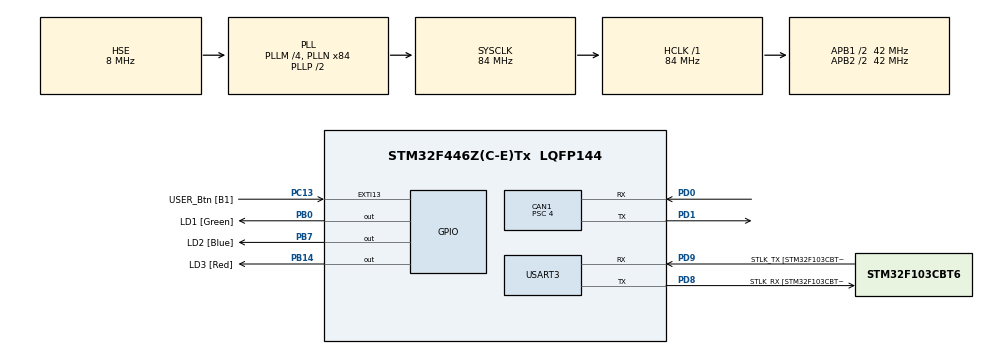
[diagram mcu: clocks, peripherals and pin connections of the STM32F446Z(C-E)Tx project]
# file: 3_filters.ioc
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CAN1.BS1=CAN_BS1_13TQ
CAN1.BS2=CAN_BS2_2TQ
CAN1.CalculateBaudRate=656250
CAN1.CalculateTimeBit=1523
CAN1.CalculateTimeQuantum=95.23809523809524
CAN1.Prescaler=4
Mcu.Family=STM32F4
Mcu.Name=STM32F446Z(C-E)Tx
Mcu.Package=LQFP144
NVIC.CAN1_RX0_IRQn=true\:0\:0\:false\:false\:true\:true\:true\:true
NVIC.EXTI15_10_IRQn=true\:0\:0\:false\:false\:true\:true\:true\:true
NVIC.PriorityGroup=NVIC_PRIORITYGROUP_4
PB0.GPIO_Label=LD1 [Green]
PB0.Signal=GPIO_Output
PB14.GPIO_Label=LD3 [Red]
PB14.Signal=GPIO_Output
PB7.GPIO_Label=LD2 [Blue]
PB7.Signal=GPIO_Output
PC13.GPIO_Label=USER_Btn [B1]
PC13.Signal=GPXTI13
PC14-OSC32_IN.Mode=LSE-External-Oscillator
PC14-OSC32_IN.Signal=RCC_OSC32_IN
PC15-OSC32_OUT.Mode=LSE-External-Oscillator
PC15-OSC32_OUT.Signal=RCC_OSC32_OUT
PD0.GPIO_PuPd=GPIO_PULLUP
PD0.Mode=CAN_Activate
PD0.Signal=CAN1_RX
PD1.GPIO_PuPd=GPIO_PULLUP
PD1.Mode=CAN_Activate
PD1.Signal=CAN1_TX
PD8.GPIO_Label=STLK_RX [STM32F103CBT6_PA3]
PD8.Mode=Asynchronous
PD8.Signal=USART3_TX
PD9.GPIO_Label=STLK_TX [STM32F103CBT6_PA2]
PD9.Mode=Asynchronous
PD9.Signal=USART3_RX
PH0-OSC_IN.GPIO_Label=MCO [STM32F103CBT6_PA8]
PH0-OSC_IN.Mode=HSE-External-Clock-Source
PH0-OSC_IN.Signal=RCC_OSC_IN
PH1-OSC_OUT.Mode=HSE-External-Clock-Source
PH1-OSC_OUT.Signal=RCC_OSC_OUT
ProjectManager.HeapSize=0x200
ProjectManager.StackSize=0x400
ProjectManager.TargetToolchain=STM32CubeIDE
RCC.48MHZClocksFreq_Value=24000000
RCC.AHBFreq_Value=84000000
RCC.APB1CLKDivider=RCC_HCLK_DIV2
RCC.APB1Freq_Value=42000000
RCC.APB1TimFreq_Value=84000000
RCC.APB2CLKDivider=RCC_HCLK_DIV2
RCC.APB2Freq_Value=42000000
RCC.APB2TimFreq_Value=84000000
RCC.CortexFreq_Value=84000000
RCC.HCLKFreq_Value=84000000
RCC.HSE_VALUE=8000000
RCC.HSI_VALUE=16000000
RCC.PLLM=4
RCC.PLLMUL=RCC_PLL_MUL9
RCC.PLLN=84
RCC.PLLQ=7
RCC.PLLSourceVirtual=RCC_PLLSOURCE_HSE
RCC.PRESCALERUSB=RCC_USBCLKSOURCE_PLL_DIV1_5
RCC.SYSCLKFreq_VALUE=84000000
RCC.SYSCLKSource=RCC_SYSCLKSOURCE_PLLCLK
RCC.SYSCLKSourceVirtual=RCC_SYSCLKSOURCE_PLLCLK
RCC.USBFreq_Value=24000000
RCC.VCOOutputFreq_Value=168000000
USART3.VirtualMode=VM_ASYNC
board=NUCLEO-F446ZE

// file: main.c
/* USER CODE BEGIN Header */
/**
  ******************************************************************************
  * @file           : main.c
  * @brief          : Main program body
  ******************************************************************************
  * @attention
  *
  * <h2><center>&copy; Copyright (c) 2021 STMicroelectronics.
  * All rights reserved.</center></h2>
  *
  * This software component is licensed by ST under BSD 3-Clause license,
  * the "License"; You may not use this file except in compliance with the
  * License. You may obtain a copy of the License at:
  *                        opensource.org/licenses/BSD-3-Clause
  *
  ******************************************************************************
  */
/* USER CODE END Header */
#include "main.h"

CAN_HandleTypeDef hcan1;

UART_HandleTypeDef huart3;

/* USER CODE BEGIN PV */
// CAN Related
CAN_TxHeaderTypeDef   TxHeader;
CAN_RxHeaderTypeDef   RxHeader;
uint8_t               TxData[8];
uint8_t               RxData[8];
uint32_t              TxMailbox;
// LED Status...
uint8_t				  LDSTAT;
uint8_t			      CNT;
uint8_t			      TX;
/* USER CODE END PV */

void SystemClock_Config(void);
static void MX_GPIO_Init(void);
static void MX_USART3_UART_Init(void);
static void MX_CAN1_Init(void);

int main(void)
{
  /* USER CODE BEGIN 1 */
	TX = 0; // Stel hier in of het zender (1) of ontvanger (0) is.

	LDSTAT = 0;
	CNT = 0;
  /* USER CODE END 1 */

  /* MCU Configuration--------------------------------------------------------*/

  /* Reset of all peripherals, Initializes the Flash interface and the Systick. */
  HAL_Init();

  /* Configure the system clock */
  SystemClock_Config();

  /* Initialize all configured peripherals */
  MX_GPIO_Init();
  MX_USART3_UART_Init();
  MX_CAN1_Init();
  /* USER CODE BEGIN 2 */
  HAL_CAN_Start(&hcan1);
  /* USER CODE END 2 */

  /* Infinite loop */
	while (1) {

    /* USER CODE BEGIN 3 */
		if (TX) {
					CNT = CNT + 1;
					TxData[0] = CNT;
					TxData[1] = LDSTAT;

					if (LDSTAT == 0) {
						HAL_GPIO_WritePin(GPIOB, LD1_Pin, GPIO_PIN_SET);
						HAL_GPIO_WritePin(GPIOB, LD3_Pin | LD2_Pin, GPIO_PIN_RESET);
						LDSTAT = 1;
					} else if (LDSTAT == 1) {
						HAL_GPIO_WritePin(GPIOB, LD2_Pin, GPIO_PIN_SET);
						HAL_GPIO_WritePin(GPIOB, LD3_Pin | LD1_Pin, GPIO_PIN_RESET);
						LDSTAT = 2;
					} else {
						HAL_GPIO_WritePin(GPIOB, LD3_Pin, GPIO_PIN_SET);
						HAL_GPIO_WritePin(GPIOB, LD1_Pin | LD2_Pin, GPIO_PIN_RESET);
						LDSTAT = 0;
					}

					if (HAL_CAN_AddTxMessage(&hcan1, &TxHeader, TxData, &TxMailbox)
							!= HAL_OK) {
						/* Transmission request Error */
						Error_Handler();
					}

					HAL_Delay(500);
				}
//					else {
//					HAL_Delay(100);
//
//					if (HAL_CAN_GetRxFifoFillLevel(&hcan1, CAN_RX_FIFO0) != 0) {
//						/* Get RX message */
//						if (HAL_CAN_GetRxMessage(&hcan1, CAN_RX_FIFO0, &RxHeader,
//								RxData) != HAL_OK) {
//							/* Reception Error */
//							Error_Handler();
//						}
//						/* Display LEDx */
//						if ((RxHeader.IDE == CAN_ID_STD)
//								&& (RxHeader.DLC == 2)) {
//							LDSTAT = RxData[1];
//							if (LDSTAT == 0) {
//								HAL_GPIO_WritePin(GPIOB, LD1_Pin, GPIO_PIN_SET);
//								HAL_GPIO_WritePin(GPIOB, LD3_Pin | LD2_Pin,
//										GPIO_PIN_RESET);
//							} else if (LDSTAT == 1) {
//								HAL_GPIO_WritePin(GPIOB, LD2_Pin, GPIO_PIN_SET);
//								HAL_GPIO_WritePin(GPIOB, LD3_Pin | LD1_Pin,
//										GPIO_PIN_RESET);
//							} else {
//								HAL_GPIO_WritePin(GPIOB, LD3_Pin, GPIO_PIN_SET);
//								HAL_GPIO_WritePin(GPIOB, LD1_Pin | LD2_Pin,
//										GPIO_PIN_RESET);
//							}
//						}
//					}
//				}
	}
  /* USER CODE END 3 */
}

void SystemClock_Config(void)
{
  RCC_OscInitTypeDef RCC_OscInitStruct = {0};
  RCC_ClkInitTypeDef RCC_ClkInitStruct = {0};

  /** Configure the main internal regulator output voltage
  */
  __HAL_RCC_PWR_CLK_ENABLE();
  __HAL_PWR_VOLTAGESCALING_CONFIG(PWR_REGULATOR_VOLTAGE_SCALE3);

  /** Initializes the RCC Oscillators according to the specified parameters
  * in the RCC_OscInitTypeDef structure.
  */
  RCC_OscInitStruct.OscillatorType = RCC_OSCILLATORTYPE_HSE;
  RCC_OscInitStruct.HSEState = RCC_HSE_BYPASS;
  RCC_OscInitStruct.PLL.PLLState = RCC_PLL_ON;
  RCC_OscInitStruct.PLL.PLLSource = RCC_PLLSOURCE_HSE;
  RCC_OscInitStruct.PLL.PLLM = 4;
  RCC_OscInitStruct.PLL.PLLN = 84;
  RCC_OscInitStruct.PLL.PLLP = RCC_PLLP_DIV2;
  RCC_OscInitStruct.PLL.PLLQ = 7;
  RCC_OscInitStruct.PLL.PLLR = 2;
  if (HAL_RCC_OscConfig(&RCC_OscInitStruct) != HAL_OK)
  {
    Error_Handler();
  }

  /** Initializes the CPU, AHB and APB buses clocks
  */
  RCC_ClkInitStruct.ClockType = RCC_CLOCKTYPE_HCLK|RCC_CLOCKTYPE_SYSCLK
                              |RCC_CLOCKTYPE_PCLK1|RCC_CLOCKTYPE_PCLK2;
  RCC_ClkInitStruct.SYSCLKSource = RCC_SYSCLKSOURCE_PLLCLK;
  RCC_ClkInitStruct.AHBCLKDivider = RCC_SYSCLK_DIV1;
  RCC_ClkInitStruct.APB1CLKDivider = RCC_HCLK_DIV2;
  RCC_ClkInitStruct.APB2CLKDivider = RCC_HCLK_DIV2;

  if (HAL_RCC_ClockConfig(&RCC_ClkInitStruct, FLASH_LATENCY_2) != HAL_OK)
  {
    Error_Handler();
  }
}

static void MX_CAN1_Init(void)
{

  /* USER CODE BEGIN CAN1_Init 0 */
  CAN_FilterTypeDef  sFilterConfig0;
  CAN_FilterTypeDef  sFilterConfig1;
  CAN_FilterTypeDef  sFilterConfig2;
  /* USER CODE END CAN1_Init 0 */

  hcan1.Instance = CAN1;
  hcan1.Init.Prescaler = 4;
  hcan1.Init.Mode = CAN_MODE_NORMAL;
  hcan1.Init.SyncJumpWidth = CAN_SJW_1TQ;
  hcan1.Init.TimeSeg1 = CAN_BS1_13TQ;
  hcan1.Init.TimeSeg2 = CAN_BS2_2TQ;
  hcan1.Init.TimeTriggeredMode = DISABLE;
  hcan1.Init.AutoBusOff = DISABLE;
  hcan1.Init.AutoWakeUp = DISABLE;
  hcan1.Init.AutoRetransmission = DISABLE;
  hcan1.Init.ReceiveFifoLocked = DISABLE;
  hcan1.Init.TransmitFifoPriority = DISABLE;
  if (HAL_CAN_Init(&hcan1) != HAL_OK)
  {
    Error_Handler();
  }
  /* USER CODE BEGIN CAN1_Init 2 */

  // Configuring the filter for Application 0.
  sFilterConfig0.FilterBank = 0;
  sFilterConfig0.FilterMode = CAN_FILTERMODE_IDLIST;
  sFilterConfig0.FilterScale = CAN_FILTERSCALE_32BIT;
  sFilterConfig0.FilterIdHigh = 0x0000;
  sFilterConfig0.FilterIdLow = 0x0000;
  sFilterConfig0.FilterMaskIdHigh = 0x0000;
  sFilterConfig0.FilterMaskIdLow = 0x0000;
  sFilterConfig0.FilterFIFOAssignment = CAN_RX_FIFO0;
  sFilterConfig0.FilterActivation = ENABLE;
  sFilterConfig0.SlaveStartFilterBank = 14;
  if (HAL_CAN_ConfigFilter(&hcan1, &sFilterConfig0) != HAL_OK) {
	/* Filter configuration Error */
	Error_Handler();
  }

  // Configuring the filter for Application 1.
  sFilterConfig1.FilterBank = 1;
  sFilterConfig1.FilterMode = CAN_FILTERMODE_IDLIST;
  sFilterConfig1.FilterScale = CAN_FILTERSCALE_32BIT;
  sFilterConfig1.FilterIdHigh = 0x0020;
  sFilterConfig1.FilterIdLow = 0x0000;
  sFilterConfig1.FilterMaskIdHigh = 0x0000;
  sFilterConfig1.FilterMaskIdLow = 0x0000;
  sFilterConfig1.FilterFIFOAssignment = CAN_RX_FIFO0;
  sFilterConfig1.FilterActivation = ENABLE;
  sFilterConfig1.SlaveStartFilterBank = 14;
  if (HAL_CAN_ConfigFilter(&hcan1, &sFilterConfig1) != HAL_OK) {
	/* Filter configuration Error */
	Error_Handler();
  }

  // Configuring the filter for Application 2.
  sFilterConfig2.FilterBank = 2;
  sFilterConfig2.FilterMode = CAN_FILTERMODE_IDLIST;
  sFilterConfig2.FilterScale = CAN_FILTERSCALE_32BIT;
  sFilterConfig2.FilterIdHigh = 0x0040;
  sFilterConfig2.FilterIdLow = 0x0000;
  sFilterConfig2.FilterMaskIdHigh = 0x0000;
  sFilterConfig2.FilterMaskIdLow = 0x0000;
  sFilterConfig2.FilterFIFOAssignment = CAN_RX_FIFO0;
  sFilterConfig2.FilterActivation = ENABLE;
  sFilterConfig2.SlaveStartFilterBank = 14;
  if (HAL_CAN_ConfigFilter(&hcan1, &sFilterConfig2) != HAL_OK) {
	/* Filter configuration Error */
	Error_Handler();
  }
  /* CAN RX Notification activeren */
  if (HAL_CAN_ActivateNotification(&hcan1, CAN_IT_RX_FIFO0_MSG_PENDING) != HAL_OK)
    {
    /* Notification Error */
      Error_Handler();
    }

  /*##-5- Configure Transmission process ##*/
  TxHeader.StdId = 0b00000000010;
  TxHeader.ExtId = 0x00;
  TxHeader.RTR = CAN_RTR_DATA;
  TxHeader.IDE = CAN_ID_STD;
  TxHeader.DLC = 2; // Datalengte is gelijk aan 2
  TxHeader.TransmitGlobalTime = DISABLE;

  /* USER CODE END CAN1_Init 2 */

}

static void MX_USART3_UART_Init(void)
{

  huart3.Instance = USART3;
  huart3.Init.BaudRate = 115200;
  huart3.Init.WordLength = UART_WORDLENGTH_8B;
  huart3.Init.StopBits = UART_STOPBITS_1;
  huart3.Init.Parity = UART_PARITY_NONE;
  huart3.Init.Mode = UART_MODE_TX_RX;
  huart3.Init.HwFlowCtl = UART_HWCONTROL_NONE;
  huart3.Init.OverSampling = UART_OVERSAMPLING_16;
  if (HAL_UART_Init(&huart3) != HAL_OK)
  {
    Error_Handler();
  }

}

static void MX_GPIO_Init(void)
{
  GPIO_InitTypeDef GPIO_InitStruct = {0};

  /* GPIO Ports Clock Enable */
  __HAL_RCC_GPIOC_CLK_ENABLE();
  __HAL_RCC_GPIOH_CLK_ENABLE();
  __HAL_RCC_GPIOB_CLK_ENABLE();
  __HAL_RCC_GPIOD_CLK_ENABLE();

  /*Configure GPIO pin Output Level */
  HAL_GPIO_WritePin(GPIOB, LD1_Pin|LD3_Pin|LD2_Pin, GPIO_PIN_RESET);

  /*Configure GPIO pin : USER_Btn_Pin */
  GPIO_InitStruct.Pin = USER_Btn_Pin;
  GPIO_InitStruct.Mode = GPIO_MODE_IT_RISING;
  GPIO_InitStruct.Pull = GPIO_NOPULL;
  HAL_GPIO_Init(USER_Btn_GPIO_Port, &GPIO_InitStruct);

  /*Configure GPIO pins : LD1_Pin LD3_Pin LD2_Pin */
  GPIO_InitStruct.Pin = LD1_Pin|LD3_Pin|LD2_Pin;
  GPIO_InitStruct.Mode = GPIO_MODE_OUTPUT_PP;
  GPIO_InitStruct.Pull = GPIO_NOPULL;
  GPIO_InitStruct.Speed = GPIO_SPEED_FREQ_LOW;
  HAL_GPIO_Init(GPIOB, &GPIO_InitStruct);

  /* EXTI interrupt init*/
  HAL_NVIC_SetPriority(EXTI15_10_IRQn, 0, 0);
  HAL_NVIC_EnableIRQ(EXTI15_10_IRQn);

}

/* USER CODE BEGIN 4 */

/**
  * @brief  Rx Fifo 0 message pending callback
  * @param  hcan: pointer to a CAN_HandleTypeDef structure that contains
  *         the configuration information for the specified CAN.
  * @retval None
  */
void HAL_CAN_RxFifo0MsgPendingCallback(CAN_HandleTypeDef *hcan)
{
  /* Get RX message */
  if (HAL_CAN_GetRxMessage(hcan, CAN_RX_FIFO0, &RxHeader, RxData) != HAL_OK)
  {
    /* Reception Error */
    Error_Handler();
  }
  /* Display LEDx */
	if ((RxHeader.IDE == CAN_ID_STD) && (RxHeader.DLC == 2)) {
		LDSTAT = RxData[1];
		if (LDSTAT == 0) {
			HAL_GPIO_WritePin(GPIOB, LD1_Pin, GPIO_PIN_SET);
			HAL_GPIO_WritePin(GPIOB, LD3_Pin | LD2_Pin, GPIO_PIN_RESET);
	    } else if (LDSTAT == 1) {
			HAL_GPIO_WritePin(GPIOB, LD2_Pin, GPIO_PIN_SET);
			HAL_GPIO_WritePin(GPIOB, LD3_Pin | LD1_Pin, GPIO_PIN_RESET);
		} else {
			HAL_GPIO_WritePin(GPIOB, LD3_Pin, GPIO_PIN_SET);
			HAL_GPIO_WritePin(GPIOB, LD1_Pin | LD2_Pin, GPIO_PIN_RESET);
		}
	}
}
/* USER CODE END 4 */

void Error_Handler(void)
{
  __disable_irq();
  while (1)
  {
  }
}
